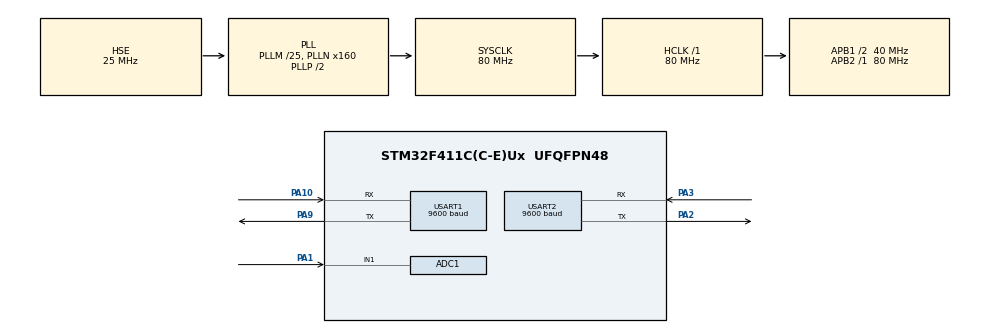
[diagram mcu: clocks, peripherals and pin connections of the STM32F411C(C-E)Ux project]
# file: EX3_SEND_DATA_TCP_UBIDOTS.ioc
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ADC1.Channel-1\#ChannelRegularConversion=ADC_CHANNEL_1
ADC1.NbrOfConversionFlag=1
ADC1.Rank-1\#ChannelRegularConversion=1
ADC1.SamplingTime-1\#ChannelRegularConversion=ADC_SAMPLETIME_3CYCLES
ADC1.master=1
Mcu.Family=STM32F4
Mcu.Name=STM32F411C(C-E)Ux
Mcu.Package=UFQFPN48
NVIC.PriorityGroup=NVIC_PRIORITYGROUP_4
PA1.Signal=ADCx_IN1
PA10.Mode=Asynchronous
PA10.Signal=USART1_RX
PA13.Mode=Serial_Wire
PA13.Signal=SYS_JTMS-SWDIO
PA14.Mode=Serial_Wire
PA14.Signal=SYS_JTCK-SWCLK
PA2.Mode=Asynchronous
PA2.Signal=USART2_TX
PA3.Mode=Asynchronous
PA3.Signal=USART2_RX
PA9.Mode=Asynchronous
PA9.Signal=USART1_TX
PH0\ -\ OSC_IN.Mode=HSE-External-Oscillator
PH0\ -\ OSC_IN.Signal=RCC_OSC_IN
PH1\ -\ OSC_OUT.Mode=HSE-External-Oscillator
PH1\ -\ OSC_OUT.Signal=RCC_OSC_OUT
ProjectManager.HeapSize=0x200
ProjectManager.StackSize=0x400
ProjectManager.TargetToolchain=STM32CubeIDE
RCC.48MHZClocksFreq_Value=40000000
RCC.AHBFreq_Value=80000000
RCC.APB1CLKDivider=RCC_HCLK_DIV2
RCC.APB1Freq_Value=40000000
RCC.APB1TimFreq_Value=80000000
RCC.APB2Freq_Value=80000000
RCC.APB2TimFreq_Value=80000000
RCC.CortexFreq_Value=80000000
RCC.HCLKFreq_Value=80000000
RCC.HSE_VALUE=25000000
RCC.HSI_VALUE=16000000
RCC.LSE_VALUE=32768
RCC.PLLM=25
RCC.PLLN=160
RCC.PLLSourceVirtual=RCC_PLLSOURCE_HSE
RCC.SYSCLKFreq_VALUE=80000000
RCC.SYSCLKSource=RCC_SYSCLKSOURCE_PLLCLK
RCC.VCOOutputFreq_Value=160000000
SH.ADCx_IN1.0=ADC1_IN1,IN1
USART1.BaudRate=9600
USART1.VirtualMode=VM_ASYNC
USART2.BaudRate=9600
USART2.VirtualMode=VM_ASYNC
board=custom

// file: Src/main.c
/* USER CODE BEGIN Header */
/**
  ********************************************************************************************************************************
  * @file   : main.c
  * @brief  : Program for sending temperature data to UBIDOTS
  * @note		: The sequence for initializing the SIM800 is defined as follows:
  * 					  1. Hardware configuration for SIM management. You can use the function SIM800_Default_ConfigHW()
  * 					  which uses the default UART1 and pins B0 and B1 for powerKey and reset respectively.
  * 					  Otherwise use the SIM800_ConfigHW() function to define the UART and pins.
  * 					  2. Power up the SIM with the SIM800_On() function.
  * 					  3. Initialize the SIM with the SIM800_Init() function.
  * 					  This function configures the SIM in text mode for SMS functions and a baud rate of 9600
  * 					  for communication with the SIM UART.
  * 				  The sequence to send data via TCP is as follows:
  * 				  	1. Verify if the SIM800 is registered on the network. Use the check_Network_Registration() function.
  * 				  	2. Verify if the SIM800 is registered registered in the GPRS service. Use the check_GPRS_Connection() function.
  * 				  	3. Deactivate GPRS PDP(Packet Data Protocol) context. Use the function disable_GPRS_PDP_Context()
  * 				  	4. Configure the SIM in command mode. Use the function set_Application_Mode_TCPUDP()
  * 				  	5. Configure the APN (Access Point Name) and Bring up wireless connection with GPRS.
  * 				  	Use the functions setAPN() and bring_Up_Wireless_Connection().
  * 				  	6. Get Local IP Address and Start Up TCP/UDP Connection. Use the function start_Up_TCPUDP_Connection().
  * 				  	7. For send data use the function send_Data_TCPUDP().
  * @author	:	Yonatan Aguirre - PCSE CESE18 UBA
  ********************************************************************************************************************************
  * @attention
  *
  * Copyright (c) 2022 STMicroelectronics.
  * All rights reserved.
  *
  * This software is licensed under terms that can be found in the LICENSE file
  * in the root directory of this software component.
  * If no LICENSE file comes with this software, it is provided AS-IS.
  *
  ******************************************************************************
  */
/* USER CODE END Header */
#include "main.h"

/* USER CODE BEGIN Includes */
#include "SIM800x.h"
/* USER CODE END Includes */

/* USER CODE BEGIN PD */
#define IP_ADDRESS 						"industrial.api.ubidots.com"
#define TOKEN							    "ENTER YOUR UBIDOTS TOKEN"
#define VARIABLE_ID     			"ENTER THE ID OF THE VARIABLE"
#define VALUE           			"\"value\": 1.0"
#define PORT							    "80"
#define SIZE_HTTP_BODY				100U
#define SIZE_BUFFER_POST 			200U
#define DELAY_SEND_DATA				2500LU
#define FACT_CONV_N2T					0.02442F	/*< TEMP_MAX(100°C)/2^n-1 -- n:12 bits ADC*/
/* USER CODE END PD */

UART_HandleTypeDef huart1;
UART_HandleTypeDef huart2;

ADC_HandleTypeDef hadc1;

uint8_t apn[10]="ENTER APN";
uint8_t* buffer[SIZE_BUFFER_POST];
float 	temperatura;

void SystemClock_Config(void);
static void MX_GPIO_Init(void);
static void MX_USART2_UART_Init(void);
static void MX_USART1_UART_Init(void);
static void MX_ADC1_Init(void);
/* USER CODE BEGIN PFP */
uint8_t* ubidotsPOST( uint8_t* token,  uint8_t* variable_id, float value);
/* USER CODE END PFP */

/* USER CODE BEGIN 0 */
uint8_t* ubidotsPOST( uint8_t* token,  uint8_t* variable_id, float value)
{
	uint8_t  httpBody[SIZE_HTTP_BODY];
	memset(&httpBody, 0,sizeof(httpBody));
	memset(&buffer, 0,sizeof(buffer));

	sprintf(httpBody,"{\"value\":%1.2f}", value);
	sprintf(buffer, "POST /api/v1.6/variables/%s/values HTTP/1.1\r\n", variable_id);
	sprintf(buffer, "%sHost: industrial.api.ubidots.com\r\n",buffer);
	sprintf(buffer, "%sContent-Type: application/json\r\n", buffer);
	sprintf(buffer, "%sX-Auth-Token: %s\r\n", buffer, token);
	sprintf(buffer, "%sContent-Length: %i\r\n\r\n%s", buffer, strlen(httpBody), httpBody);

	return buffer;
}
/* USER CODE END 0 */

int main(void)
{

  /* MCU Configuration--------------------------------------------------------*/

  /* Reset of all peripherals, Initializes the Flash interface and the Systick. */
  HAL_Init();

  /* Configure the system clock */
  SystemClock_Config();

  /* Initialize all configured peripherals */
  MX_GPIO_Init();
  MX_USART2_UART_Init();
  MX_USART1_UART_Init();
  MX_ADC1_Init();
  /* USER CODE BEGIN 2 */
  BSP_LED_Init(LED_USER);
  BSP_PB_Init(BUTTON_USER, BUTTON_MODE_GPIO);

  BSP_LED_On(LED_USER);
  /* USER CODE END 2 */
  if(SIM800_Default_ConfigHW() == OK)
  	  HAL_UART_Transmit(&huart2, (const uint8_t*)"HW SIM OK\r\n", strlen("HW SIM OK\r\n"), 1000);
  else
  	  HAL_UART_Transmit(&huart2, (const uint8_t*)"HW SIM NO CONFIG\r\n", strlen("HW SIM NO CONFIG\r\n"), 1000);

  SIM800_On();
  HAL_UART_Transmit(&huart2, (const uint8_t*)"SIM ACTIVATED\r\n", strlen("SIM ACTIVATED\r\n"), 1000);

  if(SIM800_Init() == OK)
	  HAL_UART_Transmit(&huart2, (const uint8_t*)"CONFIGURED\r", strlen("CONFIGURED\r"), 1000);
  else
	  HAL_UART_Transmit(&huart2, (const uint8_t*)"FAIL\r", strlen("NOK\r"), 1000);
  /* Infinite loop */
  while (1)
  {
	  if(check_Network_Registration()== OK && check_GPRS_Connection() == OK)
	  {
		  HAL_UART_Transmit(&huart2, (const uint8_t*)"NETWORK AND GPRS OK\r", strlen("NETWORK AND GPRS OK\r"), 1000);

		  if(disable_GPRS_PDP_Context() == OK)
			  HAL_UART_Transmit(&huart2, (const uint8_t*)"GPRS CONTEXT DISABLE\r", strlen("GPRS CONTEXT DISABLE\r"), 1000);

		  if(set_Application_Mode_TCPUDP(COMMAND_MODE) == OK)
			  HAL_UART_Transmit(&huart2, (const uint8_t*)"COMMAND MODE\r", strlen("COMMAND MODE\r"), 1000);

		  if(setAPN(&apn) == OK && bring_Up_Wireless_Connection() == OK)
		  {
			  HAL_UART_Transmit(&huart2, (const uint8_t*)"GPRS CONECTED\r", strlen("GPRS CONECTED\r"), 1000);

			  if(start_Up_TCPUDP_Connection((uint8_t*)TCP,(uint8_t*)IP_ADDRESS,(uint8_t*)PORT) == OK)
			  {
				  HAL_UART_Transmit(&huart2, (const uint8_t*)"LOCAL IP OK\r", strlen("LOCAL IP OK\r"), 1000);

				  HAL_ADC_Start(&hadc1);
				  HAL_ADC_PollForConversion(&hadc1,HAL_MAX_DELAY);
				  temperatura = HAL_ADC_GetValue(&hadc1)*FACT_CONV_N2T;
				  send_Data_TCPUDP(ubidotsPOST(TOKEN,VARIABLE_ID,temperatura),COMMAND_MODE);

			  }
			  close_TCPUDP_Connection();
			  disable_GPRS_PDP_Context();
		  }
	  }
	  HAL_Delay(DELAY_SEND_DATA);
  }
}

void SystemClock_Config(void)
{
  RCC_OscInitTypeDef RCC_OscInitStruct = {0};
  RCC_ClkInitTypeDef RCC_ClkInitStruct = {0};

  /** Configure the main internal regulator output voltage
  */
  __HAL_RCC_PWR_CLK_ENABLE();
  __HAL_PWR_VOLTAGESCALING_CONFIG(PWR_REGULATOR_VOLTAGE_SCALE1);

  /** Initializes the RCC Oscillators according to the specified parameters
  * in the RCC_OscInitTypeDef structure.
  */
  RCC_OscInitStruct.OscillatorType = RCC_OSCILLATORTYPE_HSE;
  RCC_OscInitStruct.HSEState = RCC_HSE_ON;
  RCC_OscInitStruct.PLL.PLLState = RCC_PLL_ON;
  RCC_OscInitStruct.PLL.PLLSource = RCC_PLLSOURCE_HSE;
  RCC_OscInitStruct.PLL.PLLM = 25;
  RCC_OscInitStruct.PLL.PLLN = 160;
  RCC_OscInitStruct.PLL.PLLP = RCC_PLLP_DIV2;
  RCC_OscInitStruct.PLL.PLLQ = 4;
  if (HAL_RCC_OscConfig(&RCC_OscInitStruct) != HAL_OK)
  {
    Error_Handler();
  }

  /** Initializes the CPU, AHB and APB buses clocks
  */
  RCC_ClkInitStruct.ClockType = RCC_CLOCKTYPE_HCLK|RCC_CLOCKTYPE_SYSCLK
                              |RCC_CLOCKTYPE_PCLK1|RCC_CLOCKTYPE_PCLK2;
  RCC_ClkInitStruct.SYSCLKSource = RCC_SYSCLKSOURCE_PLLCLK;
  RCC_ClkInitStruct.AHBCLKDivider = RCC_SYSCLK_DIV1;
  RCC_ClkInitStruct.APB1CLKDivider = RCC_HCLK_DIV2;
  RCC_ClkInitStruct.APB2CLKDivider = RCC_HCLK_DIV1;

  if (HAL_RCC_ClockConfig(&RCC_ClkInitStruct, FLASH_LATENCY_2) != HAL_OK)
  {
    Error_Handler();
  }
}

static void MX_ADC1_Init(void)
{

  ADC_ChannelConfTypeDef sConfig = {0};

  /** Configure the global features of the ADC (Clock, Resolution, Data Alignment and number of conversion)
  */
  hadc1.Instance = ADC1;
  hadc1.Init.ClockPrescaler = ADC_CLOCK_SYNC_PCLK_DIV4;
  hadc1.Init.Resolution = ADC_RESOLUTION_12B;
  hadc1.Init.ScanConvMode = DISABLE;
  hadc1.Init.ContinuousConvMode = DISABLE;
  hadc1.Init.DiscontinuousConvMode = DISABLE;
  hadc1.Init.ExternalTrigConvEdge = ADC_EXTERNALTRIGCONVEDGE_NONE;
  hadc1.Init.ExternalTrigConv = ADC_SOFTWARE_START;
  hadc1.Init.DataAlign = ADC_DATAALIGN_RIGHT;
  hadc1.Init.NbrOfConversion = 1;
  hadc1.Init.DMAContinuousRequests = DISABLE;
  hadc1.Init.EOCSelection = ADC_EOC_SINGLE_CONV;
  if (HAL_ADC_Init(&hadc1) != HAL_OK)
  {
    Error_Handler();
  }

  /** Configure for the selected ADC regular channel its corresponding rank in the sequencer and its sample time.
  */
  sConfig.Channel = ADC_CHANNEL_1;
  sConfig.Rank = 1;
  sConfig.SamplingTime = ADC_SAMPLETIME_3CYCLES;
  if (HAL_ADC_ConfigChannel(&hadc1, &sConfig) != HAL_OK)
  {
    Error_Handler();
  }

}

static void MX_USART1_UART_Init(void)
{

  huart1.Instance = USART1;
  huart1.Init.BaudRate = 9600;
  huart1.Init.WordLength = UART_WORDLENGTH_8B;
  huart1.Init.StopBits = UART_STOPBITS_1;
  huart1.Init.Parity = UART_PARITY_NONE;
  huart1.Init.Mode = UART_MODE_TX_RX;
  huart1.Init.HwFlowCtl = UART_HWCONTROL_NONE;
  huart1.Init.OverSampling = UART_OVERSAMPLING_16;
  if (HAL_UART_Init(&huart1) != HAL_OK)
  {
    Error_Handler();
  }

}

static void MX_USART2_UART_Init(void)
{

  huart2.Instance = USART2;
  huart2.Init.BaudRate = 9600;
  huart2.Init.WordLength = UART_WORDLENGTH_8B;
  huart2.Init.StopBits = UART_STOPBITS_1;
  huart2.Init.Parity = UART_PARITY_NONE;
  huart2.Init.Mode = UART_MODE_TX_RX;
  huart2.Init.HwFlowCtl = UART_HWCONTROL_NONE;
  huart2.Init.OverSampling = UART_OVERSAMPLING_16;
  if (HAL_UART_Init(&huart2) != HAL_OK)
  {
    Error_Handler();
  }

}

static void MX_GPIO_Init(void)
{

  /* GPIO Ports Clock Enable */
  __HAL_RCC_GPIOH_CLK_ENABLE();
  __HAL_RCC_GPIOA_CLK_ENABLE();

}

void Error_Handler(void)
{
  __disable_irq();
  while (1)
  {
  }
}
